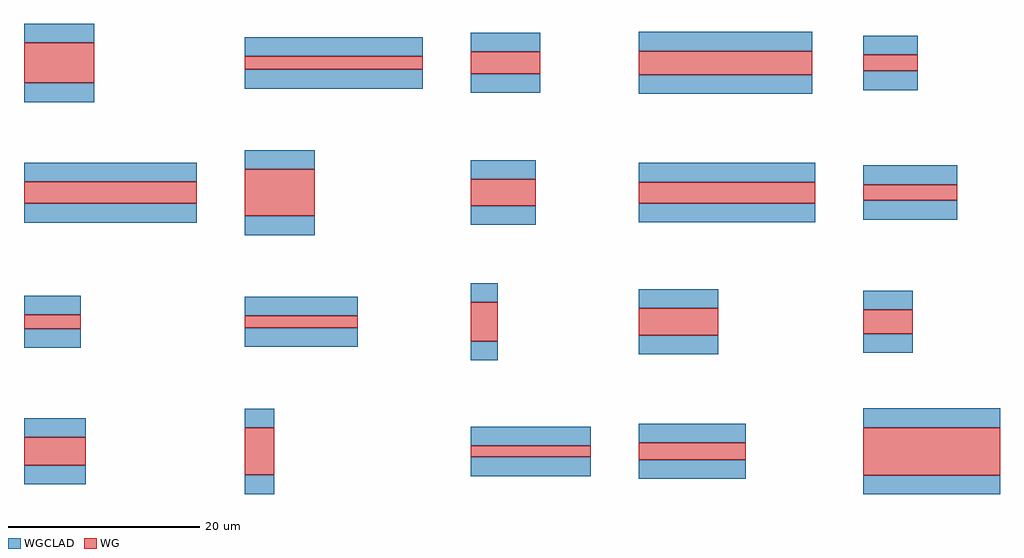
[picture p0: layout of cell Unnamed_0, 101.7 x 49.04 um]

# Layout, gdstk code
import gdstk
lib = gdstk.Library(unit=1e-6, precision=1e-09)
def R(c, l, rs):  # rectangles x0, y0, x1, y1
    for r in rs: c.add(gdstk.rectangle(r[:2], r[2:], *l))
WG = (1, 0)
WGCLAD = (111, 0)

straight_cssym_f7fe636c_ = lib.new_cell('straight_CSsym_f7fe636c_1638_L9809')
R(straight_cssym_f7fe636c_, WG, [(0,-0.819,9.809,0.819)])
R(straight_cssym_f7fe636c_, WGCLAD, [(0,-2.819,9.809,-0.819), (0,0.819,9.809,2.819)])

c_straight_cssym_f7fe636c_ = lib.new_cell('straight_CSsym_f7fe636c_2188_L18353')
R(c_straight_cssym_f7fe636c_, WG, [(0,-1.094,18.353,1.094)])
R(c_straight_cssym_f7fe636c_, WGCLAD, [(0,-3.094,18.353,-1.094), (0,1.094,18.353,3.094)])

c_straight_cssym_f7fe636c__ = lib.new_cell('straight_CSsym_f7fe636c_2890_L6450')
R(c_straight_cssym_f7fe636c__, WG, [(0,-1.445,6.45,1.445)])
R(c_straight_cssym_f7fe636c__, WGCLAD, [(0,-3.445,6.45,-1.445), (0,1.445,6.45,3.445)])

c_straight_cssym_f7fe636c___ = lib.new_cell('straight_CSsym_f7fe636c_4926_L3119')
R(c_straight_cssym_f7fe636c___, WG, [(0,-2.463,3.119,2.463)])
R(c_straight_cssym_f7fe636c___, WGCLAD, [(0,-4.463,3.119,-2.463), (0,2.463,3.119,4.463)])

c_straight_cssym_f7fe636c____ = lib.new_cell('straight_CSsym_f7fe636c_1162_L12514')
R(c_straight_cssym_f7fe636c____, WG, [(0,-0.581,12.514,0.581)])
R(c_straight_cssym_f7fe636c____, WGCLAD, [(0,-2.581,12.514,-0.581), (0,0.581,12.514,2.581)])

c_straight_cssym_f7fe636c_____ = lib.new_cell('straight_CSsym_f7fe636c_1742_L11141')
R(c_straight_cssym_f7fe636c_____, WG, [(0,-0.871,11.141,0.871)])
R(c_straight_cssym_f7fe636c_____, WGCLAD, [(0,-2.871,11.141,-0.871), (0,0.871,11.141,2.871)])

c_straight_cssym_f7fe636c______ = lib.new_cell('straight_CSsym_f7fe636c_4960_L14273')
R(c_straight_cssym_f7fe636c______, WG, [(0,-2.48,14.273,2.48)])
R(c_straight_cssym_f7fe636c______, WGCLAD, [(0,-4.48,14.273,-2.48), (0,2.48,14.273,4.48)])

c_straight_cssym_f7fe636c_______ = lib.new_cell('straight_CSsym_f7fe636c_1424_L5889')
R(c_straight_cssym_f7fe636c_______, WG, [(0,-0.712,5.889,0.712)])
R(c_straight_cssym_f7fe636c_______, WGCLAD, [(0,-2.712,5.889,-0.712), (0,0.712,5.889,2.712)])

c_straight_cssym_f7fe636c________ = lib.new_cell('straight_CSsym_f7fe636c_4166_L7297')
R(c_straight_cssym_f7fe636c________, WG, [(0,-2.083,7.297,2.083)])
R(c_straight_cssym_f7fe636c________, WGCLAD, [(0,-4.083,7.297,-2.083), (0,2.083,7.297,4.083)])

c_straight_cssym_f7fe636c_________ = lib.new_cell('straight_CSsym_f7fe636c_1210_L11818')
R(c_straight_cssym_f7fe636c_________, WG, [(0,-0.605,11.818,0.605)])
R(c_straight_cssym_f7fe636c_________, WGCLAD, [(0,-2.605,11.818,-0.605), (0,0.605,11.818,2.605)])

c_straight_cssym_f7fe636c__________ = lib.new_cell('straight_CSsym_f7fe636c_1350_L18577')
R(c_straight_cssym_f7fe636c__________, WG, [(0,-0.675,18.577,0.675)])
R(c_straight_cssym_f7fe636c__________, WGCLAD, [(0,-2.675,18.577,-0.675), (0,0.675,18.577,2.675)])

c_straight_cssym_f7fe636c___________ = lib.new_cell('straight_CSsym_f7fe636c_4054_L2804')
R(c_straight_cssym_f7fe636c___________, WG, [(0,-2.027,2.804,2.027)])
R(c_straight_cssym_f7fe636c___________, WGCLAD, [(0,-4.027,2.804,-2.027), (0,2.027,2.804,4.027)])

c_straight_cssym_f7fe636c____________ = lib.new_cell('straight_CSsym_f7fe636c_2276_L7245')
R(c_straight_cssym_f7fe636c____________, WG, [(0,-1.138,7.245,1.138)])
R(c_straight_cssym_f7fe636c____________, WGCLAD, [(0,-3.138,7.245,-1.138), (0,1.138,7.245,3.138)])

c_straight_cssym_f7fe636c_____________ = lib.new_cell('straight_CSsym_f7fe636c_2782_L8253')
R(c_straight_cssym_f7fe636c_____________, WG, [(0,-1.391,8.253,1.391)])
R(c_straight_cssym_f7fe636c_____________, WGCLAD, [(0,-3.391,8.253,-1.391), (0,1.391,8.253,3.391)])

c_straight_cssym_f7fe636c______________ = lib.new_cell('straight_CSsym_f7fe636c_2468_L18050')
R(c_straight_cssym_f7fe636c______________, WG, [(0,-1.234,18.05,1.234)])
R(c_straight_cssym_f7fe636c______________, WGCLAD, [(0,-3.234,18.05,-1.234), (0,1.234,18.05,3.234)])

c_straight_cssym_f7fe636c_______________ = lib.new_cell('straight_CSsym_f7fe636c_2490_L5196')
R(c_straight_cssym_f7fe636c_______________, WG, [(0,-1.245,5.196,1.245)])
R(c_straight_cssym_f7fe636c_______________, WGCLAD, [(0,-3.245,5.196,-1.245), (0,1.245,5.196,3.245)])

c_straight_cssym_f7fe636c________________ = lib.new_cell('straight_CSsym_f7fe636c_1678_L5687')
R(c_straight_cssym_f7fe636c________________, WG, [(0,-0.839,5.687,0.839)])
R(c_straight_cssym_f7fe636c________________, WGCLAD, [(0,-2.839,5.687,-0.839), (0,0.839,5.687,2.839)])

c_straight_cssym_f7fe636c_________________ = lib.new_cell('straight_CSsym_f7fe636c_2256_L17981')
R(c_straight_cssym_f7fe636c_________________, WG, [(0,-1.128,17.981,1.128)])
R(c_straight_cssym_f7fe636c_________________, WGCLAD, [(0,-3.128,17.981,-1.128), (0,1.128,17.981,3.128)])

c_straight_cssym_f7fe636c__________________ = lib.new_cell('straight_CSsym_f7fe636c_4864_L7293')
R(c_straight_cssym_f7fe636c__________________, WG, [(0,-2.432,7.293,2.432)])
R(c_straight_cssym_f7fe636c__________________, WGCLAD, [(0,-4.432,7.293,-2.432), (0,2.432,7.293,4.432)])

c_straight_cssym_f7fe636c___________________ = lib.new_cell('straight_CSsym_f7fe636c_2736_L6748')
R(c_straight_cssym_f7fe636c___________________, WG, [(0,-1.368,6.748,1.368)])
R(c_straight_cssym_f7fe636c___________________, WGCLAD, [(0,-3.368,6.748,-1.368), (0,1.368,6.748,3.368)])

unnamed_0 = lib.new_cell('Unnamed_0')
unnamed_0.add(gdstk.Reference(straight_cssym_f7fe636c_, (87.425,36.446)))
unnamed_0.add(gdstk.Reference(c_straight_cssym_f7fe636c_, (64.072,36.446)))
unnamed_0.add(gdstk.Reference(c_straight_cssym_f7fe636c__, (0,9.48)))
unnamed_0.add(gdstk.Reference(c_straight_cssym_f7fe636c___, (22.981,9.48)))
unnamed_0.add(gdstk.Reference(c_straight_cssym_f7fe636c____, (46.558,9.48)))
unnamed_0.add(gdstk.Reference(c_straight_cssym_f7fe636c_____, (64.072,9.48)))
unnamed_0.add(gdstk.Reference(c_straight_cssym_f7fe636c______, (87.425,9.48)))
unnamed_0.add(gdstk.Reference(c_straight_cssym_f7fe636c_______, (0,22.987)))
unnamed_0.add(gdstk.Reference(c_straight_cssym_f7fe636c________, (0,49.961)))
unnamed_0.add(gdstk.Reference(c_straight_cssym_f7fe636c_________, (22.981,22.987)))
unnamed_0.add(gdstk.Reference(c_straight_cssym_f7fe636c__________, (22.981,49.961)))
unnamed_0.add(gdstk.Reference(c_straight_cssym_f7fe636c___________, (46.558,22.987)))
unnamed_0.add(gdstk.Reference(c_straight_cssym_f7fe636c____________, (46.558,49.961)))
unnamed_0.add(gdstk.Reference(c_straight_cssym_f7fe636c_____________, (64.072,22.987)))
unnamed_0.add(gdstk.Reference(c_straight_cssym_f7fe636c______________, (64.072,49.961)))
unnamed_0.add(gdstk.Reference(c_straight_cssym_f7fe636c_______________, (87.425,22.987)))
unnamed_0.add(gdstk.Reference(c_straight_cssym_f7fe636c________________, (87.425,49.961)))
unnamed_0.add(gdstk.Reference(c_straight_cssym_f7fe636c_________________, (0,36.446)))
unnamed_0.add(gdstk.Reference(c_straight_cssym_f7fe636c__________________, (22.981,36.446)))
unnamed_0.add(gdstk.Reference(c_straight_cssym_f7fe636c___________________, (46.558,36.446)))

lib.write_gds('Unnamed_0.gds')
